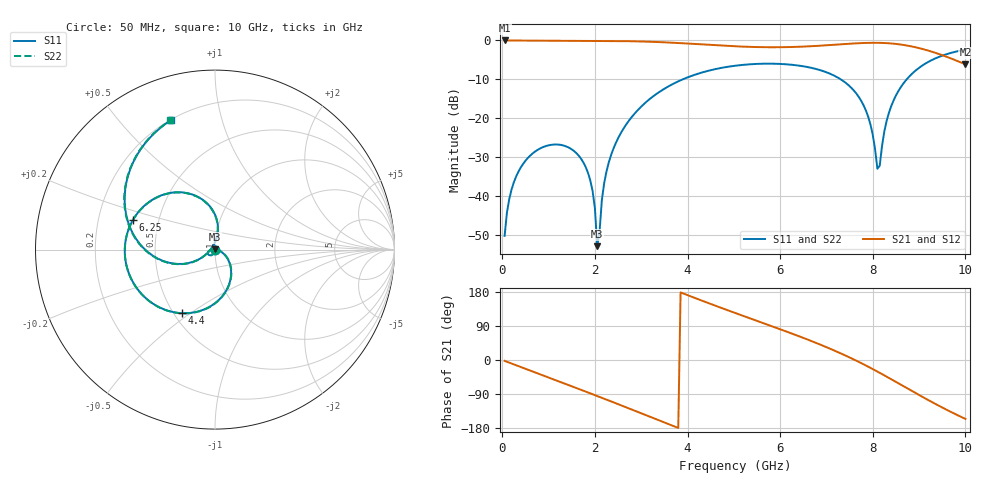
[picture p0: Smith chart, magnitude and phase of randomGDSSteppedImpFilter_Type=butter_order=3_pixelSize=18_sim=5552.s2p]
! freq	dB(S11)	phase(S11)	dB(S12)	phase(S12)
!  dB(S21)	phase(S21)	dB(S22)	phase(S22)
!S-par simulation data
#  GHz  S  DB  R 50
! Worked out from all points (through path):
!   200 points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, 50 MHz to 10 GHz, reference 50 ohm
!   highest |S21| = 0.00 dB at 50 MHz (marker M1); lowest = -6.1 dB at 10 GHz (marker M2)
!   group delay of S21, straight-line fit = 139 ps
!   lowest |S11| = -52.9 dB at 2.05 GHz (marker M3), VSWR 1.00, Z = 49.8 + j0.14 ohm
!   |S11| at or under -10 dB: start of sweep to 3.899 GHz; 7.307 GHz to 8.734 GHz (1.427 GHz wide, 17.8 % of centre)
!   |S22| runs from -51.0 to -2.4 dB; largest |S21 - S12| = 0
!   S11 on the Smith chart (normalised r, x): 50 MHz: 1.00, -0.01; 4.4 GHz: 0.55, -0.46; 6.25 GHz: 0.35, +0.15; 10 GHz: 0.20, +0.70
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0.05  -50.30 -91.2  -0.00 -2.3  -0.00 -2.3  -50.29 -91.2
0.25  -36.49 -101.7  -0.02 -11.7  -0.02 -11.7  -36.49 -101.8
0.6  -29.66 -118.2  -0.04 -27.8  -0.04 -27.8  -29.66 -118.4
1.25  -26.85 -148.8  -0.07 -57.8  -0.07 -57.8  -26.85 -149.2
1.75  -31.37 -173.3  -0.09 -81.0  -0.09 -81.0  -31.36 -174.7
1.95  -38.76 174.2  -0.10 -90.4  -0.10 -90.4  -38.69 170.3
2  -43.17 168.3  -0.11 -92.7  -0.11 -92.7  -42.96 161.5
2.05  -52.93 141.4  -0.11 -95.1  -0.11 -95.1  -51.01 125.7
2.2  -36.71 -8.6  -0.12 -102.2  -0.12 -102.2  -36.65 -4.7
2.4  -27.84 -20.9  -0.14 -111.7  -0.14 -111.7  -27.83 -19.2
3.4  -13.18 -70.5  -0.43 -160.0  -0.43 -160.0  -13.18 -70.0
4.4  -7.95 -117.8  -1.09 152.5  -1.09 152.5  -7.95 -117.4
5.05  -6.47 -146.9  -1.52 123.1  -1.52 123.1  -6.47 -146.6
6.25  -6.26 160.4  -1.69 69.9  -1.69 69.9  -6.26 160.8
6.7  -7.12 139.6  -1.47 48.8  -1.47 48.8  -7.12 140.0
7.7  -14.58 88.9  -0.71 -5.1  -0.71 -5.1  -14.58 89.3
7.95  -21.62 80.9  -0.61 -20.8  -0.61 -20.8  -21.63 81.4
8.1  -33.01 120.2  -0.61 -30.5  -0.61 -30.5  -33.01 120.9
8.35  -18.58 -149.4  -0.73 -47.4  -0.73 -47.4  -18.57 -149.1
8.8  -9.13 -174.6  -1.44 -78.6  -1.44 -78.6  -9.12 -174.2
9.25  -5.19 155.5  -2.80 -109.2  -2.80 -109.2  -5.19 155.9
10  -2.36 108.7  -6.15 -155.5  -6.15 -155.5  -2.36 109.2
